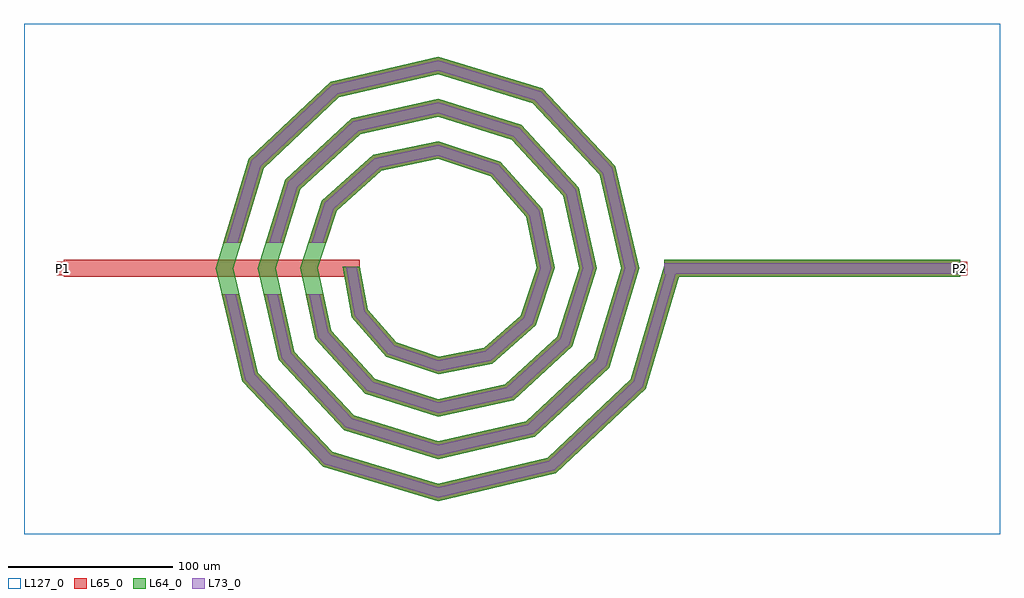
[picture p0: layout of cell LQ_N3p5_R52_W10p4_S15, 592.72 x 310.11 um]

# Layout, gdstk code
import gdstk
lib = gdstk.Library(unit=1e-6, precision=1e-09)
def R(c, l, rs):  # rectangles x0, y0, x1, y1
    for r in rs: c.add(gdstk.rectangle(r[:2], r[2:], *l))
def P(c, l, *ps):  # polygons
    for p in ps: c.add(gdstk.Polygon(p, *l))
L64_0 = (64, 0)
L65_0 = (65, 0)
L73_0 = (73, 0)
L127_0 = (127, 0)

lq_n3p5_r52_w10p4_s15 = lib.new_cell('LQ_N3p5_R52_W10p4_S15')
R(lq_n3p5_r52_w10p4_s15, L64_0, [(137.319,-5.2,317.319,5.2)])
P(lq_n3p5_r52_w10p4_s15, L64_0, [(-42.557,-25.023),(-25.427,-44.796),(0.364,-53.648),(28.198,-48.138),(50.337,-28.67),(60.069,0.328),(53.716,31.38),(31.908,55.883),(0.299,66.49),(-34.567,59.291),(-61.431,35.141),(-72.912,0.274),(-64.864,-37.758),(-38.371,-66.982),(0.254,-79.334),(40.952,-70.436),(72.534,-41.599),(85.756,0.236),(76.006,44.148),(44.824,78.088),(0.22,92.179),(-47.347,81.576),(-83.643,48.048),(-98.601,0.207),(-87.144,-50.547),(-51.27,-89.199),(0.195,-105.024),(53.748,-92.712),(94.755,-54.491),(111.447,0.184),(98.279,56.95),(57.71,100.313),(0.174,117.869),(-60.154,103.846),(-105.87,60.93),(-124.292,0.166),(-109.413,-63.358),(-64.148,-111.429),(0.158,-130.715),(66.563,-114.979),(116.987,-67.366),(137.537,1.487),(147.502,-1.487),(126.155,-73.013),(71.675,-124.455),(0.158,-141.478),(-69.807,-120.589),(-118.897,-68.457),(-135.055,0.166),(-115.022,66.603),(-65.238,113.338),(0.174,128.632),(63.399,109.455),(107.78,62.018),(122.208,0.184),(103.887,-60.196),(58.798,-102.222),(0.195,-115.785),(-56.994,-98.319),(-96.665,-55.576),(-109.362,0.207),(-92.75,53.793),(-52.353,91.109),(0.22,102.938),(50.594,87.18),(85.554,49.128),(96.515,0.236),(81.609,-47.396),(45.902,-79.999),(0.254,-90.091),(-44.2,-76.036),(-74.446,-42.673),(-83.667,0.274),(-70.462,41.007),(-39.441,68.894),(0.299,77.243),(37.818,64.886),(63.344,36.205),(70.818,0.328),(59.306,-34.632),(32.964,-57.797),(0.364,-64.394),(-31.453,-53.723),(-52.253,-29.715),(-57.706,0.969),(-47.489,0.969)])
R(lq_n3p5_r52_w10p4_s15, L65_0, [(-227.398,-5.2,-47.398,5.2), (137.319,-5.2,317.319,5.2), (-231.398,-4,-223.398,4), (313.319,-4,321.319,4)])
P(lq_n3p5_r52_w10p4_s15, L65_0, [(-109.413,-63.358),(-64.148,-111.429),(0.158,-130.715),(66.563,-114.979),(116.987,-67.366),(137.537,1.487),(147.502,-1.487),(126.155,-73.013),(71.675,-124.455),(0.158,-141.478),(-69.807,-120.589),(-118.897,-68.457),(-131.342,-15.6),(-120.658,-15.6)],
  [(-87.144,-50.547),(-51.27,-89.199),(0.195,-105.024),(53.748,-92.712),(94.755,-54.491),(111.447,0.184),(98.279,56.95),(57.711,100.313),(0.174,117.869),(-60.154,103.846),(-105.87,60.93),(-119.538,15.6),(-130.401,15.6),(-115.022,66.603),(-65.238,113.338),(0.174,128.631),(63.399,109.455),(107.78,62.018),(122.208,0.184),(103.887,-60.196),(58.798,-102.222),(0.195,-115.785),(-56.994,-98.319),(-96.665,-55.576),(-105.764,-15.6),(-95.098,-15.6)],
  [(-64.864,-37.758),(-38.371,-66.982),(0.254,-79.334),(40.952,-70.436),(72.534,-41.599),(85.757,0.236),(76.006,44.148),(44.824,78.088),(0.22,92.179),(-47.347,81.576),(-83.643,48.048),(-93.702,15.6),(-104.59,15.6),(-92.75,53.793),(-52.353,91.109),(0.22,102.938),(50.594,87.18),(85.554,49.128),(96.515,0.236),(81.609,-47.396),(45.902,-79.999),(0.254,-90.091),(-44.2,-76.037),(-74.446,-42.673),(-80.259,-15.6),(-69.622,-15.6)],
  [(-25.427,-44.796),(0.364,-53.648),(28.198,-48.138),(50.337,-28.67),(60.069,0.328),(53.716,31.38),(31.908,55.883),(0.299,66.49),(-34.567,59.291),(-61.431,35.141),(-67.766,15.6),(-78.699,15.6),(-70.462,41.007),(-39.441,68.894),(0.299,77.243),(37.818,64.886),(63.344,36.205),(70.819,0.328),(59.306,-34.632),(32.964,-57.797),(0.364,-64.394),(-31.453,-53.723),(-52.253,-29.715),(-57.707,0.969),(-47.489,0.969),(-42.557,-25.023)])
R(lq_n3p5_r52_w10p4_s15, L73_0, [(137.319,-3.2,317.319,3.2)])
P(lq_n3p5_r52_w10p4_s15, L73_0, [(-111.237,-64.338),(-65.236,-113.19),(0.097,-132.785),(67.546,-116.801),(118.75,-68.452),(139.453,0.915),(145.586,0.915),(124.392,-71.927),(70.692,-122.633),(0.097,-139.408),(-68.719,-118.827),(-117.073,-67.476),(-129.288,-15.6),(-122.713,-15.6)],
  [(-88.975,-51.514),(-52.37,-90.953),(0.12,-107.094),(54.719,-94.541),(96.512,-55.588),(113.516,0.113),(100.107,57.925),(58.805,102.071),(0.107,119.939),(-61.131,105.672),(-107.63,62.021),(-121.627,15.6),(-128.312,15.6),(-113.262,65.512),(-64.26,111.513),(0.107,126.562),(62.305,107.697),(105.953,61.044),(120.139,0.113),(102.131,-59.099),(57.827,-100.394),(0.12,-113.716),(-55.893,-96.565),(-94.834,-54.609),(-103.713,-15.6),(-97.149,-15.6)],
  [(-66.707,-38.703),(-39.492,-68.723),(0.156,-81.403),(41.904,-72.275),(74.279,-42.714),(87.825,0.145),(77.842,45.106),(45.934,79.836),(0.136,94.248),(-48.309,83.409),(-85.394,49.152),(-95.795,15.6),(-102.496,15.6),(-90.999,52.688),(-51.39,89.276),(0.136,100.869),(49.484,85.432),(83.718,48.171),(94.446,0.145),(79.864,-46.281),(44.95,-78.16),(0.156,-88.022),(-43.079,-74.295),(-72.603,-41.728),(-78.213,-15.6),(-71.667,-15.6)],
  [(-26.586,-46.512),(0.224,-55.714),(29.115,-49.996),(52.062,-29.817),(62.136,0.202),(55.567,32.308),(33.045,57.614),(0.184,68.558),(-35.504,61.138),(-63.168,36.269),(-69.868,15.6),(-76.596,15.6),(-68.726,39.879),(-38.504,67.047),(0.184,75.175),(36.681,63.154),(61.493,35.277),(68.751,0.202),(57.581,-33.486),(32.047,-55.939),(0.224,-62.327),(-30.294,-52.006),(-50.388,-28.813),(-55.742,0.597),(-49.454,0.597),(-44.422,-25.926)])
R(lq_n3p5_r52_w10p4_s15, L127_0, [(-251.398,-161.478,341.319,148.632)])
lq_n3p5_r52_w10p4_s15.add(gdstk.Label('P2', (317.319,0), layer=65, texttype=0))
lq_n3p5_r52_w10p4_s15.add(gdstk.Label('P1', (-227.398,0), layer=65, texttype=0))
lq_n3p5_r52_w10p4_s15.add(gdstk.Label('P2', (321.319,0), layer=145, texttype=0))
lq_n3p5_r52_w10p4_s15.add(gdstk.Label('P1', (-231.398,0), layer=145, texttype=0))

lib.write_gds('LQ_N3p5_R52_W10p4_S15.gds')
